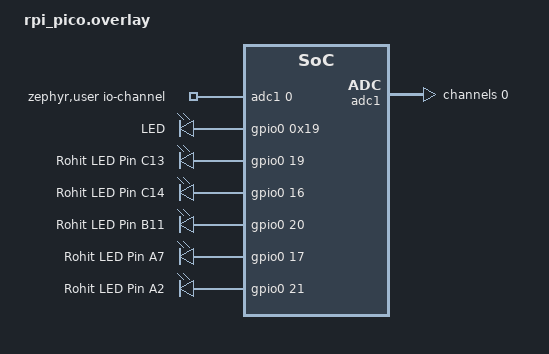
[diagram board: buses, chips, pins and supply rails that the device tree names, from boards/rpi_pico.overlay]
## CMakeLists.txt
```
# SPDX-License-Identifier: Apache-2.0
cmake_minimum_required(VERSION 3.20.0)
# set(BOARD rpi_pico)
set(BOARD stm32_min_dev_blue)
# set(BOARD stm32f401_mini)
set($ENV{ZEPHYR_BASE} /home/rohit/zephyrproject/zephyr)

# set variable before find_package line
find_package(Zephyr)
project(black-pill-usb VERSION 0.1.0)

target_sources(app PRIVATE src/main.c)

    
```

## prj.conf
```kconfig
CONFIG_PRINTK=y
CONFIG_HEAP_MEM_POOL_SIZE=256
CONFIG_ASSERT=y

CONFIG_GPIO=y
CONFIG_ADC=y

CONFIG_SERIAL=y
CONFIG_UART_CONSOLE=y
CONFIG_CONSOLE=y
CONFIG_STDOUT_CONSOLE=y

CONFIG_LOG=y
CONFIG_LOG_MODE_DEFERRED=y
CONFIG_LOG_RUNTIME_FILTERING=y
CONFIG_LOG_BUFFER_SIZE=2048
CONFIG_LOG_PRINTK=y
CONFIG_LOG_PROCESS_TRIGGER_THRESHOLD=0
CONFIG_LOG_TAG_MAX_LEN=8


CONFIG_USB_DRIVER_LOG_LEVEL_DBG=y
# CONFIG_USB_DRIVER_LOG_LEVEL_ERR=y

CONFIG_USB_DEVICE_STACK=y
CONFIG_USB_DEVICE_LOG_LEVEL_ERR=y
CONFIG_USB_DEVICE_VID=0x2fff
CONFIG_USB_DEVICE_PID=0x0001
CONFIG_USB_DEVICE_MANUFACTURER="E3_G5"
CONFIG_USB_DEVICE_PRODUCT="LM35 sensor"
CONFIG_USB_DEVICE_SN="01234"
```

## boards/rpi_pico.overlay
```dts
#include <zephyr/dt-bindings/adc/adc.h>

/ {
    zephyr,user {
        /* adjust channel number according to pinmux in board.dts */
        io-channels = <&adc1 0>;
    };
    aliases {
        led-built-in = &led_19;
        led-white = &led_20;
        led-green = &led_17;
        led-yellow = &led_21;
        led-red = &led_16;
    };
    leds {
        compatible = "gpio-leds";
        led0: led_0 {
            gpios = <&gpio0 0x19 0x0>;
            label = "LED";
        };
    };
    leds {
        compatible = "gpio-leds";
        led_19: led_19 {
            gpios = <&gpio0 19 GPIO_ACTIVE_HIGH>;
            label = "Rohit LED Pin C13";
        };
        led_16: led_16 {
            gpios = <&gpio0 16 GPIO_ACTIVE_HIGH>;
            label = "Rohit LED Pin C14";
        };
        led_20: led_20 {
            gpios = <&gpio0 20 GPIO_ACTIVE_HIGH>;
            label = "Rohit LED Pin B11";
        };
        led_17: led_17 {
            gpios = <&gpio0 17 GPIO_ACTIVE_HIGH>;
            label = "Rohit LED Pin A7";
        };
        led_21: led_21 {
            gpios = <&gpio0 21 GPIO_ACTIVE_HIGH>;
            label = "Rohit LED Pin A2";
        };
    };
};
&adc1 {
    #address-cells = <1>;
    #size-cells = <0>;

    channel@0 {
        reg = <0>;
        zephyr,gain = "ADC_GAIN_1";
        zephyr,reference = "ADC_REF_INTERNAL";
        zephyr,acquisition-time = <ADC_ACQ_TIME_DEFAULT>;
        zephyr,resolution = <12>;
    };
};
```

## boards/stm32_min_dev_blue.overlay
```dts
#include <zephyr/dt-bindings/adc/adc.h>

/ {
	zephyr,user {
		/* adjust channel number according to pinmux in board.dts */
		io-channels = <&adc1 0>;
	};
	aliases {
		led-built-in = &led_c13;
		led-white = &led_b11;
		led-green = &led_a7;
		led-yellow = &led_a5;
		led-red = &led_c14;
	};

	leds {
		compatible = "gpio-leds";
		led_c13: led_c13 {
			gpios = <&gpioc 0xd GPIO_ACTIVE_HIGH>;
			label = "Rohit LED Pin C13";
		};
		led_c14: led_c14 {
			gpios = <&gpioc 0xe GPIO_ACTIVE_HIGH>;
			label = "Rohit LED Pin C14";
		};
		led_b11: led_b11 {
			gpios = <&gpiob 0xb GPIO_ACTIVE_HIGH>;
			label = "Rohit LED Pin B11";
		};
		led_a7: led_a7 {
			gpios = <&gpioa 0x7 GPIO_ACTIVE_HIGH>;
			label = "Rohit LED Pin A7";
		};
		led_a5: led_a5 {
			gpios = <&gpioa 0x5 GPIO_ACTIVE_HIGH>;
			label = "Rohit LED Pin A2";
		};
	};
};
&adc1 {
	#address-cells = <1>;
	#size-cells = <0>;

	channel@0 {
		reg = <0>;
		zephyr,gain = "ADC_GAIN_1";
		zephyr,reference = "ADC_REF_INTERNAL";
		zephyr,acquisition-time = <ADC_ACQ_TIME_DEFAULT>;
		zephyr,resolution = <12>;
	};
};
```

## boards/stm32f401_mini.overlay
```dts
#include <zephyr/dt-bindings/adc/adc.h>

/ {
	zephyr,user {
		/* adjust channel number according to pinmux in board.dts */
		io-channels = <&adc1 0>;
	};
	aliases {
		led-built-in = &led_c13;
		led-white = &led_b7;
		led-green = &led_a11;
		led-yellow = &led_b10;
		led-red = &led_c14;
	};

	leds {
		compatible = "gpio-leds";
		led_c13: led_c13 {
			gpios = <&gpioc 0xd GPIO_ACTIVE_HIGH>;
			label = "Rohit LED Pin C13";
		};
		led_c14: led_c14 {
			gpios = <&gpioc 0xe GPIO_ACTIVE_HIGH>;
			label = "Rohit LED Pin C14";
		};
		led_b10: led_b10 {
			gpios = <&gpiob 0xa GPIO_ACTIVE_HIGH>;
			label = "Rohit LED Pin B10";
		};
		led_a11: led_a11 {
			gpios = <&gpioa 0xb GPIO_ACTIVE_HIGH>;
			label = "Rohit LED Pin A11";
		};
		led_b7: led_b7 {
			gpios = <&gpiob 0x7 GPIO_ACTIVE_HIGH>;
			label = "Rohit LED Pin B7";
		};
	};
};
&adc1 {
	#address-cells = <1>;
	#size-cells = <0>;

	channel@0 {
		reg = <0>;
		zephyr,gain = "ADC_GAIN_1";
		zephyr,reference = "ADC_REF_INTERNAL";
		zephyr,acquisition-time = <ADC_ACQ_TIME_DEFAULT>;
		zephyr,resolution = <12>;
	};
};
```

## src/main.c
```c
/*
 * Copyright (c) 2019 Nordic Semiconductor ASA
 *
 * SPDX-License-Identifier: Apache-2.0
 */
#include <zephyr/zephyr.h>
#include <zephyr/device.h>
#include <zephyr/usb/usb_device.h>
#include <zephyr/usb/usb_ch9.h>
#include <zephyr/drivers/gpio.h>
#include <zephyr/logging/log.h>
#include <zephyr/drivers/adc.h>
#include <zephyr/devicetree.h>
#include <zephyr/sys/printk.h>
#include <zephyr/sys/__assert.h>
#include <string.h>
#include "../usb-frame.h"

/* size of stack area used by each thread */
#define STACKSIZE 1024

/* scheduling priority used by each thread */
#define PRIORITY 7
#define MAX_PACKET USB_MAX_FS_BULK_MPS
#define RO_EP_OUT_ADDR 0X01
#define RO_EP_IN_ADDR 0X81

LOG_MODULE_REGISTER(blue_pill_lm35, LOG_LEVEL_DBG);

#if !DT_NODE_EXISTS(DT_PATH(zephyr_user)) || \
	!DT_NODE_HAS_PROP(DT_PATH(zephyr_user), io_channels)
#error "No suitable devicetree overlay specified"
#endif

#define DT_SPEC_AND_COMMA(node_id, prop, idx) \
	ADC_DT_SPEC_GET_BY_IDX(node_id, idx),

/* Data of ADC io-channels specified in devicetree. */
static struct adc_dt_spec lm35 = ADC_DT_SPEC_GET_BY_IDX(DT_PATH(zephyr_user), 0);

void blink(void *, void *);
void handle_lm35();
void work_handler();
void handle_led(uint8_t cmd, const struct gpio_dt_spec *p_spec);
void callback_ep_out(uint8_t ep, enum usb_dc_ep_cb_status_code cb_status);
void callback_ep_in(uint8_t ep, enum usb_dc_ep_cb_status_code cb_status);
void led_setup(const struct gpio_dt_spec *spec);
void ro_cb_usb_status(struct usb_cfg_data *cfg,
					  enum usb_dc_status_code cb_status,
					  const uint8_t *param);
struct ro_usb_config
{
	struct usb_if_descriptor if0;
	struct usb_ep_descriptor if0_out_ep;
	struct usb_ep_descriptor if0_in_ep;
} __packed;

USBD_CLASS_DESCR_DEFINE(primary, 0)
struct ro_usb_config ro_cfg = {
	// interface descriptor
	.if0 = {
		.bLength = sizeof(struct usb_if_descriptor),
		.bDescriptorType = USB_DESC_INTERFACE,
		.bInterfaceNumber = 0,
		.bAlternateSetting = 0,
		.bNumEndpoints = 2,
		.bInterfaceClass = USB_BCC_VENDOR, // 255
		.bInterfaceSubClass = 0,
		.bInterfaceProtocol = 0,
		.iInterface = 0},

	// data endpoint out
	.if0_out_ep = {.bLength = sizeof(struct usb_ep_descriptor), .bDescriptorType = USB_DESC_ENDPOINT, .bEndpointAddress = RO_EP_OUT_ADDR, .bInterval = 0x00, .wMaxPacketSize = 0x0040, .bmAttributes = USB_DC_EP_BULK},
	.if0_in_ep = {.bLength = sizeof(struct usb_ep_descriptor), .bDescriptorType = USB_DESC_ENDPOINT, .bEndpointAddress = RO_EP_IN_ADDR, .bInterval = 0x00, .wMaxPacketSize = 0x0040, .bmAttributes = USB_DC_EP_BULK}

};

/**
 * @brief Pointer to array of individual endpoint configurations in entire device descriptors
 * 	- used in usb_cfg_data
 */
static struct usb_ep_cfg_data ep_cfg[] = {
	{.ep_cb = callback_ep_out,
	 .ep_addr = RO_EP_OUT_ADDR},
	{.ep_cb = callback_ep_in,
	 .ep_addr = RO_EP_IN_ADDR}};

USBD_CFG_DATA_DEFINE(primary, rohit)
struct usb_cfg_data ro_usb_config = {
	.usb_device_description = NULL,		 // pointer to ch9 usb device descriptor
	.interface_descriptor = &ro_cfg.if0, // pointer to ch9 interface descriptor (usb_if_descriptor)
	.num_endpoints = ARRAY_SIZE(ep_cfg), // total number of endpoints in device descriptor table
	.endpoint = ep_cfg,					 // pointer to array of endpoints cgf (usb_ep_cfg_data)
	.cb_usb_status = ro_cb_usb_status	 // usb status change callback function
};

const struct gpio_dt_spec led_builtin = GPIO_DT_SPEC_GET(DT_ALIAS(led_built_in), gpios);
const struct gpio_dt_spec led_red = GPIO_DT_SPEC_GET(DT_ALIAS(led_red), gpios);
const struct gpio_dt_spec led_yellow = GPIO_DT_SPEC_GET(DT_ALIAS(led_yellow), gpios);
const struct gpio_dt_spec led_white = GPIO_DT_SPEC_GET(DT_ALIAS(led_white), gpios);
const struct gpio_dt_spec led_green = GPIO_DT_SPEC_GET(DT_ALIAS(led_green), gpios);

/**
 * @brief Blink task to verfy that scheduler is working
 *
 */
K_THREAD_DEFINE(blink0_id, STACKSIZE, blink, &led_builtin, 5000, NULL, PRIORITY, 0, 0);
// K_THREAD_DEFINE(blink1_id, STACKSIZE, blink, &led_red, 500, NULL, PRIORITY, 0, 0);
// K_THREAD_DEFINE(blink2_id, STACKSIZE, blink, &led_green, 300, NULL, PRIORITY, 0, 0);
// K_THREAD_DEFINE(blink3_id, STACKSIZE, blink, &led_white, 400, NULL, PRIORITY, 0, 0);
// K_THREAD_DEFINE(blink4_id, STACKSIZE, blink, &led_builtin, 600, NULL, PRIORITY, 0, 0);

/* Actual work of processing commands is done by the threads */
K_THREAD_DEFINE(worker_thread_id, STACKSIZE, work_handler, NULL, NULL, NULL, 1, 0, 0);

/* Define kernel fifo for sending commands to worker thread */
K_FIFO_DEFINE(work_fifo);

// buffer to hold adc raeading
int16_t buf;
struct adc_sequence sequence = {
	.buffer = &buf,
	/* buffer size in bytes, not number of samples */
	.buffer_size = sizeof(buf),
};

void main(void)
{
	int ret;
	led_setup(&led_red);
	led_setup(&led_yellow);
	led_setup(&led_white);
	led_setup(&led_green);

	ret = usb_enable(NULL);
	if (ret < 0)
	{
		LOG_ERR("usb_enable() failed");
		return;
	}

	// setup adc channel
	if (!device_is_ready(lm35.dev))
	{
		LOG_ERR("ADC controller device not ready");
		return;
	}

	ret = adc_channel_setup_dt(&lm35);
	if (ret < 0)
	{
		LOG_ERR("Could not setup lm35 (%d)", ret);
		return;
	}
}


/**
 * @brief Blink an led continuously as heartbeat
 * 
 * @param p1 pointer to led spec
 * @param p2 sleep duration
 */
void blink(void *p1, void *p2)
{
	int ret;
	struct gpio_dt_spec *spec = (struct gpio_dt_spec *)p1;
	int sleep_ms = (int)p2;
	if (!device_is_ready(spec->port))
	{
		LOG_ERR("Error: %s device is not ready", spec->port->name);
		return;
	}

	ret = gpio_pin_configure_dt(spec, GPIO_OUTPUT);
	if (ret != 0)
	{
		LOG_ERR("Error %d: failed to configure pin %d",
				ret, spec->pin);
		return;
	}

	while (1)
	{
		gpio_pin_toggle_dt(spec);
		k_msleep(sleep_ms);
	}
}

/**
 * @brief Callback function for usb device status change
 *
 * @param cfg pointer to active configuration
 * @param cb_status usb device status
 * @param param
 */
void ro_cb_usb_status(struct usb_cfg_data *cfg, enum usb_dc_status_code cb_status, const uint8_t *param)
{
	ARG_UNUSED(param); // declare param as unused argument
	char *status = NULL;
	switch (cb_status)
	{
	case USB_DC_ERROR:
		status = "USB_DC_ERROR";
		break;
	case USB_DC_RESET:
		status = "USB_DC_RESET";
		break;
	case USB_DC_CONNECTED:
		status = "USB_DC_CONNECTED";
		break;
	case USB_DC_DISCONNECTED:
		status = "USB_DC_DISCONNECTED";
		break;
	case USB_DC_CONFIGURED:
		status = "USB_DC_CONFIGURED";
		break;
	case USB_DC_SUSPEND:
		status = "USB_DC_SUSPEND";
		break;
	case USB_DC_RESUME:
		status = "USB_DC_RESUME";
		break;
	case USB_DC_INTERFACE:
		status = "USB_DC_INTERFACE";
		break;
	case USB_DC_CLEAR_HALT:
		status = "USB_DC_CLEAR_HALT";
		break;
	case USB_DC_SOF:
		status = "USB_DC_SOF";
		break;
	case USB_DC_UNKNOWN:
		status = "USB_DC_UNKNOWN";
		break;
	case USB_DC_SET_HALT:
		status = "USB_DC_ERROR";
		break;
	}
	LOG_INF(" ro_usb_dc_status_callback(): param=%hu, status=%s", (unsigned short)(*param), status);
}

//* functions for endpoint

/**
 * @brief Callback function for OUT endpoint event
 * 	Indicates data is received and available to application
 *
 * @param ep endpoint address
 * @param cb_status setup=0, out=1, in=0
 */
void callback_ep_out(uint8_t ep, enum usb_dc_ep_cb_status_code cb_status)
{
	uint32_t read_bytes;
	int ret;

	// allocate memory for new message which is to be freed in consumer task
	frame_t *frame = k_malloc(sizeof(frame_t));
	uint8_t data[MAX_PACKET]; // buffer to hold max packet length

	// read from usb buffer
	ret = usb_read(RO_EP_OUT_ADDR, data, 64, &read_bytes);
	if (ret < 0)
	{
		LOG_ERR("usb_read() failed %d", ret);
		return;
	}

	LOG_INF("Read %d bytes", read_bytes);

	memcpy(frame, data, sizeof(frame_t));

	k_fifo_put(&work_fifo, frame);
}


/**
 * @brief Executes commands received by USB
 * 
 */
void work_handler()
{
	LOG_DBG("Started work handler thread");
	static frame_t *frame;

	while (1)
	{
		frame = k_fifo_get(&work_fifo,
						   K_FOREVER);
		LOG_DBG("peripheral_id: %#x", frame->peripheral_id);
		LOG_DBG("cmd: %#x", frame->cmd);
		LOG_DBG("payoload_len: %#x", frame->payload_len);

		switch (frame->peripheral_id)
		{
		case LED_BUILTIN:
			handle_led(frame->cmd, &led_builtin);
			break;
		case LED_YELLOW:
			handle_led(frame->cmd, &led_yellow);
			break;
		case LED_RED:
			handle_led(frame->cmd, &led_red);
			break;
		case LED_WHITE:
			handle_led(frame->cmd, &led_white);
			break;
		case LED_GREEN:
			handle_led(frame->cmd, &led_green);
			break;
		case LM35:
			handle_lm35(frame);
			break;
		default:
			LOG_INF("Invalid peripheral ");
			break;
		}
		k_free(frame);
	}
}

/**
 * @brief Callback function for IN endpoint event
 * 	Called when data transmit is done
 *
 * @param ep endpoint address
 * @param cb_status setup=0, out=1, in=0
 */
void callback_ep_in(uint8_t ep, enum usb_dc_ep_cb_status_code cb_status)
{
	LOG_DBG("Callback for Endpoint (updated msg): %#x, Status: %#x", ep, cb_status);
}


/**
 * @brief Executes commands on led
 * 
 * @param cmd cmd value
 * @param p_spec pointer to led spec
 */
void handle_led(uint8_t cmd, const struct gpio_dt_spec *p_spec)
{
	switch (cmd)
	{
	case LED_ON:
		gpio_pin_set_dt(p_spec, 0x01);
		break;
	case LED_OFF:
		gpio_pin_set_dt(p_spec, 0x00);
		break;
	case LED_TOGGLE:
		gpio_pin_toggle_dt(p_spec);
		break;
	case LED_BLINK:
		gpio_pin_toggle_dt(p_spec);
		k_msleep(500);
		gpio_pin_toggle_dt(p_spec);
		break;
	default:
		break;
	}
}


/**
 * @brief Handle commands for lm35 temperature sensor
 * 
 * @param frame pointer to usb frame received from driver
 */
void handle_lm35(frame_t *frame)
{
	static int err, ret;
	static uint32_t read_bytes;
	static int32_t val_mv;
	static frame_ret_t frame_ret;

	LOG_INF("ADC reading: ");

	(void)adc_sequence_init_dt(&lm35, &sequence);

	err = adc_read(lm35.dev, &sequence);
	if (err < 0)
	{
		LOG_ERR("Could not read (%d)", err);
	}
	else
	{
		LOG_INF("16 bit value %#x", buf);
	}

	/* conversion to mV may not be supported, skip if not */
	val_mv = buf;
	err = adc_raw_to_millivolts_dt(&lm35,
								   &val_mv);
	if (err < 0)
	{
		LOG_ERR(" (value in mV not available)");
	}
	else
	{
		LOG_INF("millivolts: %#x && %hd", val_mv, (int16_t)val_mv);
	}

	frame_ret.cmd = frame->cmd;
	frame_ret.peripheral_id = frame->peripheral_id;
	frame_ret.payload_len = 2;
	frame_ret.value = (uint16_t)val_mv;
	LOG_INF("Transmitted actual value: %#x, %hd", frame_ret.value, frame_ret.value);
	ret = usb_write(RO_EP_IN_ADDR, (const uint8_t *)&frame_ret, sizeof(frame_ret_t), &read_bytes);
	if (ret < 0)
	{
		LOG_ERR("usb_write() failed");
		return;
	}
	LOG_INF("Wrote %d bytes\n", read_bytes);
}


/**
 * @brief Setup led as output
 * 
 * @param spec pointer to led spec
 */
void led_setup(const struct gpio_dt_spec *spec)
{
	int ret;
	if (!device_is_ready(spec->port))
	{
		LOG_ERR("Error: %s device is not ready\n", spec->port->name);
		return;
	}

	ret = gpio_pin_configure_dt(spec, GPIO_OUTPUT);
	if (ret != 0)
	{
		LOG_ERR("Error %d: failed to configure pin %d \n",
			   ret, spec->pin);
		return;
	}
}
```
